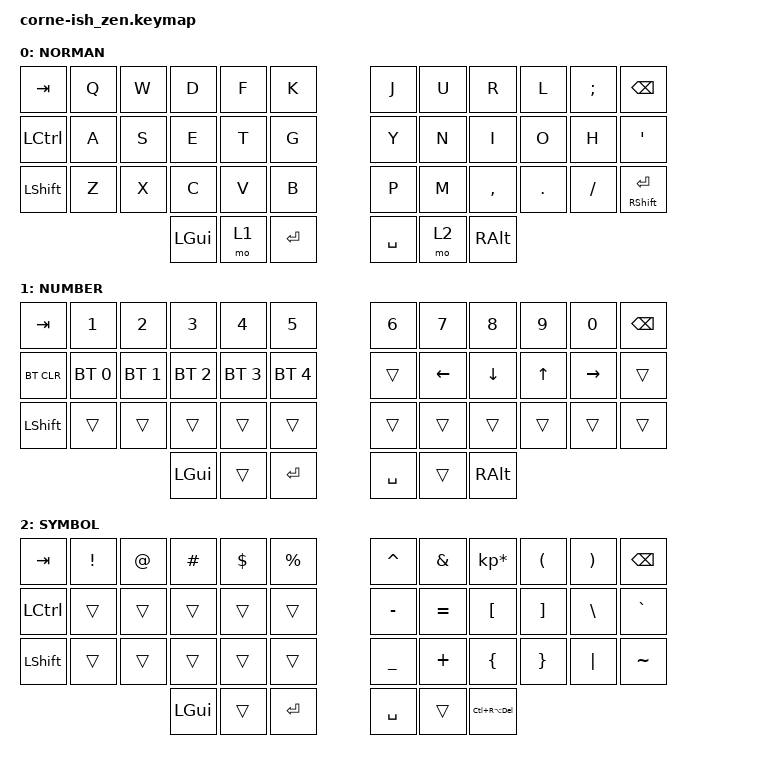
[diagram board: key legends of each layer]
/*
*
* Copyright (c) 2021 Darryl deHaan
* SPDX-License-Identifier: MIT
*
*/

#include <behaviors.dtsi>
#include <dt-bindings/zmk/keys.h>
#include <dt-bindings/zmk/bt.h>

/ {
       behaviors {
        hm: homerow_mods {
            compatible = "zmk,behavior-hold-tap";
            label = "HOMEROW_MODS";
            #binding-cells = <2>;
            tapping-term-ms = <150>;
            quick-tap-ms = <0>;
            flavor = "tap-preferred";
            bindings = <&kp>, <&kp>;
        };
    };

        keymap {
                compatible = "zmk,keymap";

                default_layer {
                        label = "NORMAN";
// -----------------------------------------------------------------------------------------
// |  TAB |  Q  |  W  |  D  |  F  |  K  |   |  J  |  U   |  R  |  L  |  ;  | BKSP |
// | CTRL |  A  |  S  |  E  |  T  |  G  |   |  Y  |  N   |  I  |  O  |  H  |  '   |
// | SHFT |  Z  |  X  |  C  |  V  |  B  |   |  P  |  M   |  ,  |  .  |  /  | Shift ENT |
//                    | GUI | LWR | ENT |   | SPC | RSE  | ALT |
                        bindings = <
   &kp TAB   &kp Q &kp W &kp D &kp F &kp K   &kp J &kp U  &kp R     &kp L   &kp SEMI &kp BSPC
   &kp LCTRL &kp A &kp S &kp E &kp T &kp G   &kp Y &kp N  &kp I     &kp O   &kp H    &kp SQT
   &kp LSHFT &kp Z &kp X &kp C &kp V &kp B   &kp P &kp M  &kp COMMA &kp DOT &kp FSLH &hm RSHFT RET
                  &kp LGUI &mo 1 &kp RET     &kp SPACE &mo 2 &kp RALT
                        >;
                };
                lower_layer {
                        label = "NUMBER";
// -----------------------------------------------------------------------------------------
// |  TAB |  1  |  2  |  3  |  4  |  5  |   |  6  |  7  |  8  |  9  |  0  | BKSP |
// | BTCLR| BT1 | BT2 | BT3 | BT4 | BT5 |   |     | LFT | DWN |  UP | RGT |      |
// | SHFT |     |     |     |     |     |   |     |     |     |     |     |      |
//                    | GUI |     | ENT |   | SPC |     | ALT |
                        bindings = <
   &kp TAB    &kp N1       &kp N2       &kp N3       &kp N4       &kp N5         &kp N6    &kp N7   &kp N8   &kp N9 &kp N0    &kp BSPC
   &bt BT_CLR &bt BT_SEL 0 &bt BT_SEL 1 &bt BT_SEL 2 &bt BT_SEL 3 &bt BT_SEL 4   &trans    &kp LEFT &kp DOWN &kp UP &kp RIGHT &trans
   &kp LSHFT  &trans       &trans       &trans       &trans       &trans         &trans    &trans   &trans   &trans &trans    &trans
                          	            &kp LGUI     &trans       &kp RET        &kp SPACE &trans   &kp RALT
                        >;
                };

                raise_layer {
                        label = "SYMBOL";
// -----------------------------------------------------------------------------------------
// |  TAB |  !  |  @  |  #  |  $  |  %  |   |  ^  |  &  |  *  |  (  |  )  | BKSP |
// | CTRL |     |     |     |     |     |   |  -  |  =  |  [  |  ]  |  \  |  `   |
// | SHFT |     |     |     |     |     |   |  _  |  +  |  {  |  }  | "|" |  ~   |
//                    | GUI |     | ENT |   | SPC |     | CTRL ALT DEL |
                        bindings = <
   &kp  TAB  &kp EXCL &kp AT &kp HASH &kp DLLR &kp PRCNT   &kp CARET &kp AMPS  &kp KP_MULTIPLY &kp LPAR &kp RPAR &kp BSPC
   &kp LCTRL &trans   &trans &trans   &trans   &trans      &kp MINUS &kp EQUAL &kp LBKT        &kp RBKT &kp BSLH &kp GRAVE
   &kp LSHFT &trans   &trans &trans   &trans   &trans      &kp UNDER &kp PLUS  &kp LBRC        &kp RBRC &kp PIPE &kp TILDE
                    	     &kp LGUI &trans   &kp RET     &kp SPACE &trans    &kp LC(RA(DEL))
                        >;
                };
        };
};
